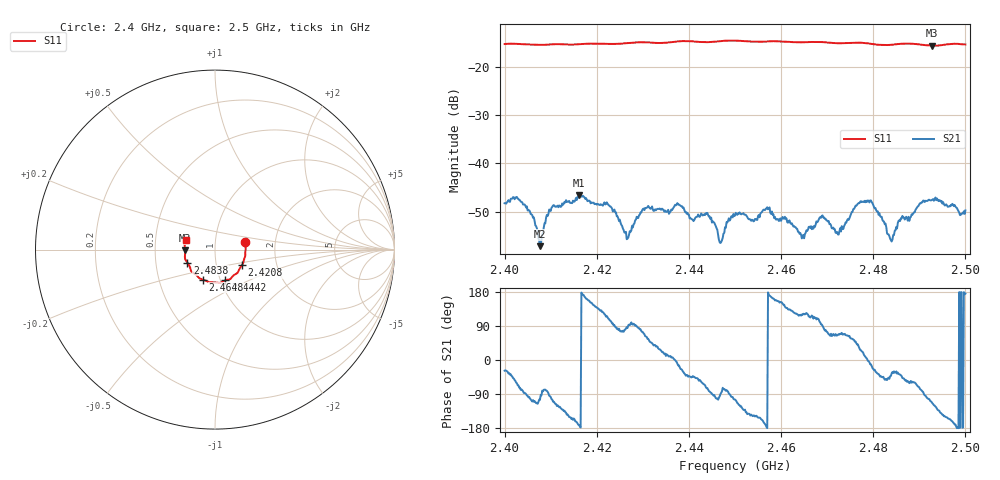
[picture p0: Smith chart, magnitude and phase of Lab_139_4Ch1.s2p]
# Hz S RI R 50
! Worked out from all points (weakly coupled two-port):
!   601 points, 2.4 GHz to 2.5 GHz, reference 50 ohm
!   highest |S21| = -46.58 dB at 2.4162 GHz (marker M1); lowest = -57.2 dB at 2.4077 GHz (marker M2)
!   lowest |S11| = -15.6 dB at 2.4928 GHz (marker M3), VSWR 1.40, Z = 35.8 - j0.361 ohm
!   |S11| at or under -10 dB: start of sweep to end of sweep
!   S12 and S22 are empty: the file has one direction only
!   S11 on the Smith chart (normalised r, x): 2.4 GHz: 1.40, +0.12; 2.4208 GHz: 1.33, -0.24; 2.4442 GHz: 1.05, -0.37; 2.4648 GHz: 0.83, -0.29; 2.4838 GHz: 0.73, -0.11; 2.5 GHz: 0.72, +0.08
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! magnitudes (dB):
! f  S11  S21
! 2.4 GHz  -15.3  -48.3
! 2.4043 GHz  -15.3  -48.5
! 2.4077 GHz  -15.4  -57.2
! 2.4102 GHz  -15.3  -49.2
! 2.4162 GHz  -15.3  -46.6
! 2.4167 GHz  -15.2  -46.9
! 2.4208 GHz  -15.2  -48.5
! 2.4265 GHz  -15.1  -55.7
! 2.4333 GHz  -15.0  -49.4
! 2.4442 GHz  -14.9  -50.7
! 2.4468 GHz  -14.7  -56.5
! 2.45 GHz  -14.5  -50.8
! 2.457 GHz  -14.7  -49.1
! 2.4648 GHz  -14.9  -54.8
! 2.4667 GHz  -14.8  -53.7
! 2.4688 GHz  -14.8  -50.9
! 2.4725 GHz  -15.1  -54.8
! 2.479 GHz  -15.1  -47.8
! 2.4833 GHz  -15.5  -54.7
! 2.4838 GHz  -15.4  -55.9
! 2.4928 GHz  -15.6  -47.5
! 2.5 GHz  -15.4  -49.8
